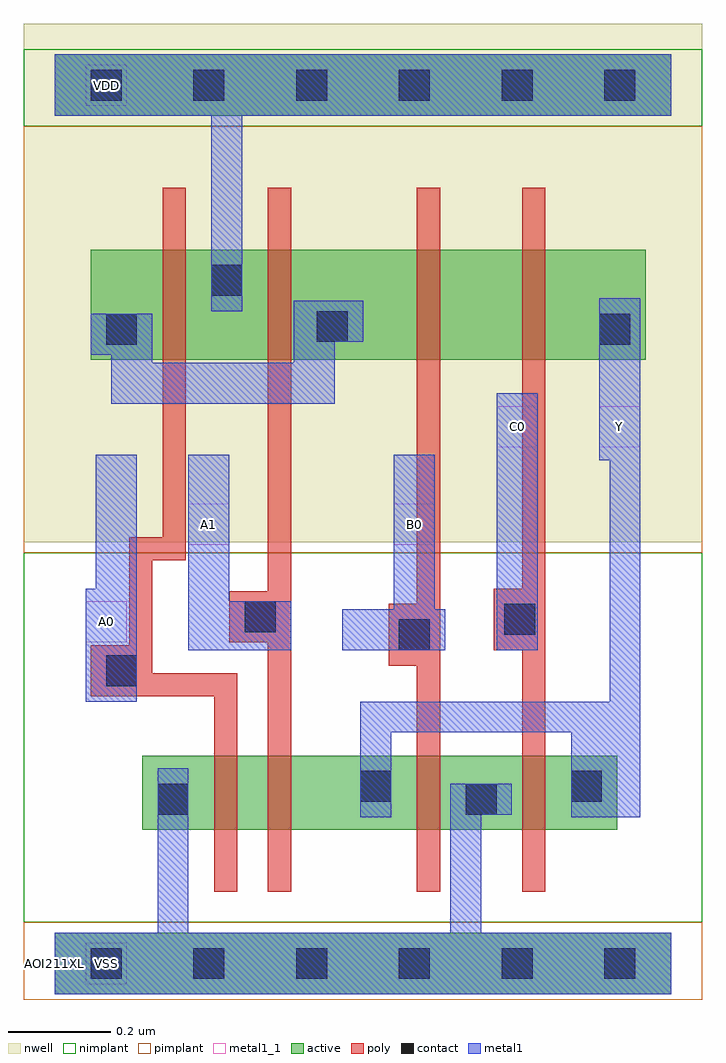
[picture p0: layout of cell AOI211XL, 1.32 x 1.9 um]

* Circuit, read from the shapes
.subckt AOI211XL A0 A1 B0 C0 VDD VSS Y
M1 n1 A0 VSS VSS nfet w=0.145u l=0.045u
M2 Y A1 n1 VSS nfet w=0.145u l=0.045u
M3 VSS B0 Y VSS nfet w=0.145u l=0.045u
M4 Y C0 VSS VSS nfet w=0.145u l=0.045u
M5 VDD A0 n2 VDD pfet w=0.215u l=0.045u
M6 n2 A1 VDD VDD pfet w=0.215u l=0.045u
M7 n3 B0 n2 VDD pfet w=0.215u l=0.045u
M8 Y C0 n3 VDD pfet w=0.215u l=0.045u
.ends

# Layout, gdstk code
import gdstk
lib = gdstk.Library(unit=1e-6, precision=5e-10)
def R(c, l, rs):  # rectangles x0, y0, x1, y1
    for r in rs: c.add(gdstk.rectangle(r[:2], r[2:], *l))
def A(c, l, x, y, w, h, nx, ny, dx, dy):  # array of equal rectangles
    R(c, l, [(x+i*dx, y+j*dy, x+i*dx+w, y+j*dy+h) for i in range(nx) for j in range(ny)])
def P(c, l, *ps):  # polygons
    for p in ps: c.add(gdstk.Polygon(p, *l))
active = (1, 0)
nwell = (2, 0)
poly = (3, 0)
nimplant = (4, 0)
pimplant = (5, 0)
contact = (6, 0)
metal1 = (7, 0)
metal1_1 = (7, 1)

aoi211xl = lib.new_cell('AOI211XL')
R(aoi211xl, active, [(0,-0.06,1.2,0.06), (0.17,0.26,1.095,0.405), (0.07,1.175,1.15,1.39), (0,1.65,1.2,1.77)])
R(aoi211xl, nwell, [(-0.06,0.82,1.26,1.83)])
P(aoi211xl, poly, [(0.21,1.51),(0.255,1.51),(0.255,0.785),(0.19,0.785),(0.19,0.565),(0.355,0.565),(0.355,0.14),(0.31,0.14),(0.31,0.52),(0.07,0.52),(0.07,0.62),(0.145,0.62),(0.145,0.83),(0.21,0.83)],
  [(0.415,1.51),(0.46,1.51),(0.46,0.14),(0.415,0.14),(0.415,0.625),(0.34,0.625),(0.34,0.725),(0.415,0.725)],
  [(0.705,1.51),(0.75,1.51),(0.75,0.14),(0.705,0.14),(0.705,0.58),(0.65,0.58),(0.65,0.7),(0.705,0.7)],
  [(0.91,1.51),(0.955,1.51),(0.955,0.14),(0.91,0.14),(0.91,0.61),(0.855,0.61),(0.855,0.73),(0.91,0.73)])
R(aoi211xl, nimplant, [(-0.06,0.08,1.26,0.8), (-0.06,1.63,1.26,1.78)])
R(aoi211xl, pimplant, [(-0.06,-0.07,1.26,0.08), (-0.06,0.8,1.26,1.63)])
A(aoi211xl, contact, 0.07, -0.03, 0.06, 0.06, 6, 2, 0.2, 1.71)
R(aoi211xl, contact, [(0.2,0.29,0.26,0.35), (0.8,0.29,0.86,0.35), (0.595,0.315,0.655,0.375), (1.005,0.315,1.065,0.375), (0.1,0.54,0.16,0.6), (0.67,0.61,0.73,0.67), (0.875,0.64,0.935,0.7), (0.37,0.645,0.43,0.705), (0.1,1.205,0.16,1.265), (1.06,1.205,1.12,1.265), (0.51,1.21,0.57,1.27), (0.305,1.3,0.365,1.36)])
R(aoi211xl, metal1, [(0.86,0.61,0.94,1.11)])
P(aoi211xl, metal1, [(0,1.77),(1.2,1.77),(1.2,1.65),(0.365,1.65),(0.365,1.27),(0.305,1.27),(0.305,1.65),(0,1.65)],
  [(1.06,1.295),(1.14,1.295),(1.14,0.285),(1.005,0.285),(1.005,0.45),(0.655,0.45),(0.655,0.285),(0.595,0.285),(0.595,0.51),(1.08,0.51),(1.08,0.98),(1.06,0.98)],
  [(0.07,1.265),(0.19,1.265),(0.19,1.17),(0.465,1.17),(0.465,1.29),(0.6,1.29),(0.6,1.21),(0.545,1.21),(0.545,1.09),(0.11,1.09),(0.11,1.185),(0.07,1.185)],
  [(0.26,0.99),(0.34,0.99),(0.34,0.705),(0.46,0.705),(0.46,0.61),(0.26,0.61)],
  [(0.08,0.99),(0.16,0.99),(0.16,0.51),(0.06,0.51),(0.06,0.73),(0.08,0.73)],
  [(0.66,0.99),(0.74,0.99),(0.74,0.69),(0.76,0.69),(0.76,0.61),(0.56,0.61),(0.56,0.69),(0.66,0.69)],
  [(0.2,0.38),(0.26,0.38),(0.26,0.06),(0.77,0.06),(0.77,0.35),(0.89,0.35),(0.89,0.29),(0.83,0.29),(0.83,0.06),(1.2,0.06),(1.2,-0.06),(0,-0.06),(0,0.06),(0.2,0.06)])
R(aoi211xl, metal1_1, [(0.06,-0.04,0.14,0.04), (0.06,0.625,0.14,0.705), (0.26,0.815,0.34,0.895), (0.66,0.815,0.74,0.895), (0.86,1.005,0.94,1.085), (1.06,1.005,1.14,1.085), (0.06,1.67,0.14,1.75)])
aoi211xl.add(gdstk.Label('Y', (1.1,1.045), layer=7, texttype=1))
aoi211xl.add(gdstk.Label('A0', (0.1,0.665), layer=7, texttype=1))
aoi211xl.add(gdstk.Label('A1', (0.3,0.855), layer=7, texttype=1))
aoi211xl.add(gdstk.Label('B0', (0.7,0.855), layer=7, texttype=1))
aoi211xl.add(gdstk.Label('C0', (0.9,1.045), layer=7, texttype=1))
aoi211xl.add(gdstk.Label('VDD', (0.1,1.71), layer=7, texttype=1))
aoi211xl.add(gdstk.Label('VSS', (0.1,0), layer=7, texttype=1))
aoi211xl.add(gdstk.Label('AOI211XL', (0,0), layer=63, texttype=0))

lib.write_gds('AOI211XL.gds')
